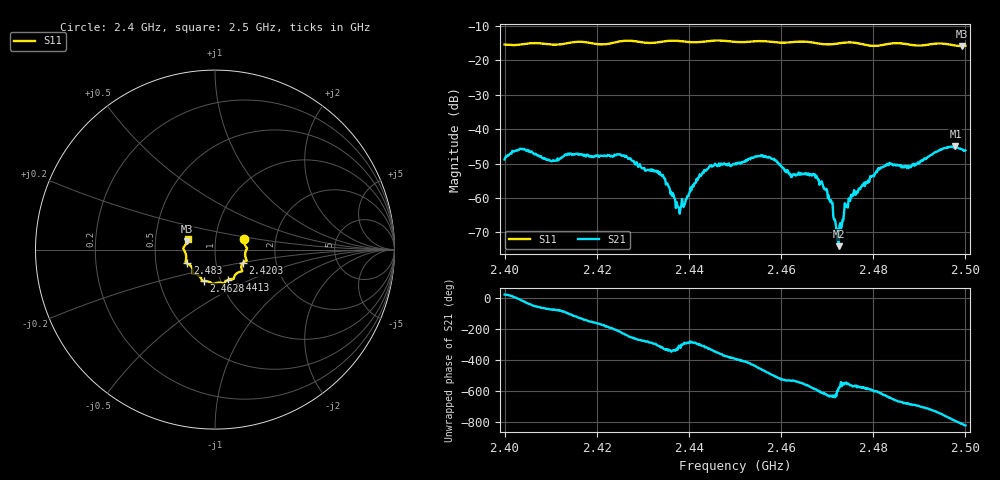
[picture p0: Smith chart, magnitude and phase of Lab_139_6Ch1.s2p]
# Hz S RI R 50
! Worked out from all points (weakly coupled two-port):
!   601 points, 2.4 GHz to 2.5 GHz, reference 50 ohm
!   highest |S21| = -44.99 dB at 2.4978 GHz (marker M1); lowest = -74.1 dB at 2.4725 GHz (marker M2)
!   lowest |S11| = -15.8 dB at 2.4992 GHz (marker M3), VSWR 1.39, Z = 36.4 + j3.54 ohm
!   |S11| at or under -10 dB: start of sweep to end of sweep
!   S12 and S22 are empty: the file has one direction only
!   S11 on the Smith chart (normalised r, x): 2.4 GHz: 1.37, +0.16; 2.4203 GHz: 1.35, -0.21; 2.4413 GHz: 1.09, -0.38; 2.4628 GHz: 0.83, -0.30; 2.483 GHz: 0.72, -0.11; 2.5 GHz: 0.73, +0.09
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2.4e9  0.1605 0.0569  0.00338 0.00133  0 0  0 0
2.403833e9  0.1708 0.0193  0.0049 -0.00164  0 0  0 0
2.410333e9  0.1693 -0.0135  0.000834 -0.00335  0 0  0 0
2.416667e9  0.1761 -0.0614  -0.003 -0.00308  0 0  0 0
2.420333e9  0.1552 -0.074  -0.00405 -0.00091  0 0  0 0
2.433333e9  0.1081 -0.1484  0.00151 0.00191  0 0  0 0
2.437667e9  0.1012 -0.1641  0.000583 0.000452  0 0  0 0
2.441333e9  0.0743 -0.1679  0.000523 0.00155  0 0  0 0
2.444833e9  0.0529 -0.1859  0.00275 0.00121  0 0  0 0
2.45e9  0.0294 -0.1839  0.00259 -0.00166  0 0  0 0
2.456167e9  -0.0126 -0.1902  -0.0012 -0.00376  0 0  0 0
2.462833e9  -0.0631 -0.1747  -0.00216 -0.000187  0 0  0 0
2.466667e9  -0.0743 -0.1675  -0.00163 0.00134  0 0  0 0
2.47e9  -0.0923 -0.1439  1.24e-05 0.00127  0 0  0 0
2.4725e9  -0.1148 -0.1348  -0.000151 0.000128  0 0  0 0
2.4755e9  -0.1253 -0.1322  -0.000951 0.000578  0 0  0 0
2.483e9  -0.1547 -0.0767  0.000397 0.00311  0 0  0 0
2.483333e9  -0.1569 -0.0757  0.000576 0.00293  0 0  0 0
2.487833e9  -0.1612 -0.0543  0.00237 0.00163  0 0  0 0
2.497833e9  -0.1617 0.0311  0.00154 -0.00541  0 0  0 0
2.499167e9  -0.1549 0.0473  -0.000146 -0.00508  0 0  0 0
2.5e9  -0.1524 0.0585  -0.00115 -0.00479  0 0  0 0
